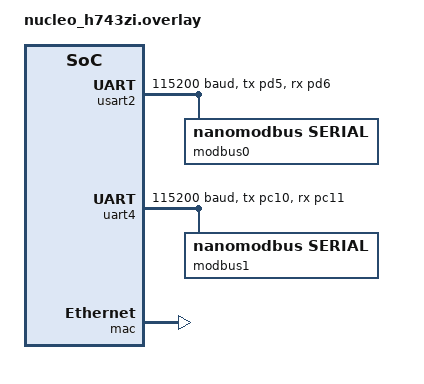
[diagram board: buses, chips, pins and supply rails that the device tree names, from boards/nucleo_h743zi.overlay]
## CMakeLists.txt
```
cmake_minimum_required(VERSION 3.20.0)
list(APPEND ZEPHYR_EXTRA_MODULES ${CMAKE_CURRENT_SOURCE_DIR}/../..)
find_package(Zephyr REQUIRED HINTS $ENV{ZEPHYR_BASE})
project(nanomodbus_gateway)
target_sources(app PRIVATE src/main.c)
```

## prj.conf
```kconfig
CONFIG_NANOMODBUS=y
CONFIG_NANOMODBUS_CLIENT=y
CONFIG_NANOMODBUS_SERVER=y
CONFIG_NANOMODBUS_SERVER_TCP=y
CONFIG_NANOMODBUS_TRANSPORT_SERIAL=y
CONFIG_NANOMODBUS_TRANSPORT_TCP=y
CONFIG_SERIAL=y
CONFIG_NETWORKING=y
CONFIG_NET_SOCKETS=y
CONFIG_NET_TCP=y
CONFIG_NET_IPV4=y
CONFIG_LOG=y
```

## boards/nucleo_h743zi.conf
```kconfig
# Copyright (c) 2026 nanoMODBUS Contributors
# SPDX-License-Identifier: MIT

CONFIG_NET_L2_ETHERNET=y
CONFIG_NET_DHCPV4=y
CONFIG_UART_INTERRUPT_DRIVEN=y
```

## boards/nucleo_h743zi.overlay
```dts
/*
 * Copyright (c) 2026 nanoMODBUS Contributors
 * SPDX-License-Identifier: MIT
 */

/ {
	aliases {
		modbus-bus1 = &usart2;
		modbus-bus2 = &uart4;
		modbus0 = &modbus0;
		modbus1 = &modbus1;
	};
};

&usart2 {
	pinctrl-0 = <&usart2_tx_pd5 &usart2_rx_pd6>;
	pinctrl-names = "default";
	current-speed = <115200>;
	status = "okay";

	modbus0: modbus0 {
		compatible = "nanomodbus,serial";
		status = "okay";
		#address-cells = <1>;
		#size-cells = <0>;
		de-mode = "none";
		rx-mode = "irq";

		bus1_slave: slave@1 {
			reg = <1>;
		};
	};
};

&uart4 {
	pinctrl-0 = <&uart4_tx_pc10 &uart4_rx_pc11>;
	pinctrl-names = "default";
	current-speed = <115200>;
	status = "okay";

	modbus1: modbus1 {
		compatible = "nanomodbus,serial";
		status = "okay";
		#address-cells = <1>;
		#size-cells = <0>;
		de-mode = "none";
		rx-mode = "irq";

		bus2_slave: slave@2 {
			reg = <2>;
		};
	};
};

&mac {
	status = "okay";
};
```

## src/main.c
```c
/*
 * Copyright (c) 2026 nanoMODBUS Contributors
 * SPDX-License-Identifier: MIT
 *
 * Multi-instance Modbus gateway sample.
 *
 * Two RTU buses are polled as Modbus clients and their registers are published
 * through a Modbus TCP server. Buses whose UART is unavailable fall back to
 * simulated telemetry so the TCP side can still be exercised.
 */

#include <zephyr/device.h>
#include <zephyr/drivers/uart.h>
#include <zephyr/kernel.h>
#include <zephyr/logging/log.h>
#include <zephyr/nanomodbus/nanomodbus_z.h>
#include <zephyr/nanomodbus/nanomodbus_z_serial.h>
#include <zephyr/nanomodbus/nanomodbus_z_tcp.h>
#include <zephyr/net/dhcpv4.h>
#include <zephyr/net/net_if.h>
#include <zephyr/net/net_ip.h>
#include <zephyr/net/socket.h>
#ifdef CONFIG_NANOMODBUS_SHELL
#include <zephyr/nanomodbus/nanomodbus_z_shell.h>
#endif

LOG_MODULE_REGISTER(modbus_gateway, CONFIG_NANOMODBUS_LOG_LEVEL);

#define GATEWAY_TCP_PORT 502

#define CACHE_REG_COUNT 32
#define BUS1_REG_OFFSET 0
#define BUS1_REG_COUNT 16
#define BUS2_REG_OFFSET 16
#define BUS2_REG_COUNT 16

/* Mutex-protected shared register cache */
static struct k_mutex cache_lock;
static uint16_t cached_holding_registers[CACHE_REG_COUNT];

/* Modbus TCP Server instance (embeds its listener stack, so static storage) */
static nmbs_z_server_tcp_t tcp_server;

/* RTU Clients for Bus 1 and Bus 2 */
static nmbs_z_client_t client_rtu1;
static nmbs_z_serial_transport_t transport_rtu1;
static nmbs_platform_conf platform_rtu1;
static bool bus1_hw_ready;

static nmbs_z_client_t client_rtu2;
static nmbs_z_serial_transport_t transport_rtu2;
static nmbs_platform_conf platform_rtu2;
static bool bus2_hw_ready;

/* Worker threads for RTU polling */
static K_THREAD_STACK_DEFINE(bus1_stack, 2048);
static K_THREAD_STACK_DEFINE(bus2_stack, 2048);
static struct k_thread bus1_thread;
static struct k_thread bus2_thread;

/* UART peripherals come from the devicetree nodes/aliases provided by the board
 * overlay. There is deliberately no fallback to the console UART: taking it
 * over would silently kill logging on boards without the aliases.
 */
#if DT_NODE_HAS_STATUS_OKAY(DT_NODELABEL(modbus0))
#define BUS1_NODE DT_NODELABEL(modbus0)
#elif DT_NODE_HAS_STATUS_OKAY(DT_ALIAS(modbus_bus1))
#define BUS1_NODE DT_ALIAS(modbus_bus1)
#else
#define BUS1_NODE DT_INVALID_NODE
#endif

#if DT_NODE_HAS_STATUS_OKAY(DT_NODELABEL(modbus1))
#define BUS2_NODE DT_NODELABEL(modbus1)
#elif DT_NODE_HAS_STATUS_OKAY(DT_ALIAS(modbus_bus2))
#define BUS2_NODE DT_ALIAS(modbus_bus2)
#else
#define BUS2_NODE DT_INVALID_NODE
#endif

#if DT_NODE_EXISTS(DT_NODELABEL(bus1_slave))
#define BUS1_SLAVE_ADDR NMBS_Z_DT_SLAVE_ID(DT_NODELABEL(bus1_slave))
#else
#define BUS1_SLAVE_ADDR 1
#endif

#if DT_NODE_EXISTS(DT_NODELABEL(bus2_slave))
#define BUS2_SLAVE_ADDR NMBS_Z_DT_SLAVE_ID(DT_NODELABEL(bus2_slave))
#else
#define BUS2_SLAVE_ADDR 2
#endif

/* Modbus TCP Server Callbacks serving cached RTU registers */
static nmbs_error gateway_read_holding_registers(uint16_t address, uint16_t quantity, uint16_t* registers_out,
                                                 uint8_t unit_id, void* arg) {
    ARG_UNUSED(unit_id);
    ARG_UNUSED(arg);

    if (address + quantity > CACHE_REG_COUNT) {
        LOG_WRN("TCP Client requested out-of-bounds holding registers: addr=%u, qty=%u", address, quantity);
        return NMBS_EXCEPTION_ILLEGAL_DATA_ADDRESS;
    }

    k_mutex_lock(&cache_lock, K_FOREVER);
    for (uint16_t i = 0; i < quantity; i++) {
        registers_out[i] = cached_holding_registers[address + i];
    }
    k_mutex_unlock(&cache_lock);

    LOG_INF("Served TCP Client: read %u holding registers starting at %u", quantity, address);
    return NMBS_ERROR_NONE;
}

static nmbs_error gateway_write_single_register(uint16_t address, uint16_t value, uint8_t unit_id, void* arg) {
    ARG_UNUSED(unit_id);
    ARG_UNUSED(arg);

    if (address >= CACHE_REG_COUNT) {
        LOG_WRN("TCP Client write out-of-bounds: addr=%u", address);
        return NMBS_EXCEPTION_ILLEGAL_DATA_ADDRESS;
    }

    k_mutex_lock(&cache_lock, K_FOREVER);
    cached_holding_registers[address] = value;
    k_mutex_unlock(&cache_lock);

    LOG_INF("Served TCP Client: wrote register %u = 0x%04X", address, value);
    return NMBS_ERROR_NONE;
}

static const nmbs_callbacks gateway_callbacks = {
        .read_holding_registers = gateway_read_holding_registers,
        .write_single_register = gateway_write_single_register,
};

/*
 * Initialize one RTU client. Returns true when the bus can really be polled;
 * false means the caller should publish simulated values instead.
 */
static bool setup_rtu_bus(nmbs_z_client_t* client, nmbs_z_serial_transport_t* transport, nmbs_platform_conf* platform,
                          const nmbs_z_serial_transport_config_t* config, uint8_t address, const char* name) {
    if (config == NULL || config->uart_dev == NULL || !device_is_ready(config->uart_dev)) {
        LOG_WRN("%s: UART not available, publishing simulated values", name);
        return false;
    }

    int ret = nmbs_z_serial_transport_init(transport, config, platform);
    if (ret != 0) {
        LOG_ERR("%s: serial transport init failed: %d", name, ret);
        return false;
    }

    ret = nmbs_z_client_init(client, platform);
    if (ret != 0) {
        LOG_ERR("%s: client init failed: %d", name, ret);
        return false;
    }

    ret = nmbs_z_client_set_target_address(client, address, K_MSEC(100));
    if (ret != 0) {
        LOG_ERR("%s: cannot set RTU slave address %u: %d", name, address, ret);
        return false;
    }

    LOG_INF("%s: RTU client for slave %u ready", name, address);
    return true;
}

/* Polling thread for RTU Bus 1 */
static void bus1_poll_fn(void* arg1, void* arg2, void* arg3) {
    ARG_UNUSED(arg1);
    ARG_UNUSED(arg2);
    ARG_UNUSED(arg3);

    uint16_t counter = 0;

    LOG_INF("RTU Bus 1 polling thread running (hardware=%s)...", bus1_hw_ready ? "active" : "simulated");

    while (1) {
        if (bus1_hw_ready) {
            uint16_t read_buf[BUS1_REG_COUNT] = {0};
            int ret = nmbs_z_client_read_holding_registers(&client_rtu1, 0, BUS1_REG_COUNT, read_buf, K_MSEC(500));
            if (ret == 0) {
                k_mutex_lock(&cache_lock, K_FOREVER);
                for (int i = 0; i < BUS1_REG_COUNT; i++) {
                    cached_holding_registers[BUS1_REG_OFFSET + i] = read_buf[i];
                }
                k_mutex_unlock(&cache_lock);
            }
            else {
                LOG_DBG("RTU Bus 1 poll failed: %d", ret);
            }
        }
        else {
            /* Simulated RTU Bus 1 slave telemetry */
            k_mutex_lock(&cache_lock, K_FOREVER);
            cached_holding_registers[BUS1_REG_OFFSET + 0] = 1000 + counter;
            cached_holding_registers[BUS1_REG_OFFSET + 1] = 1001;
            k_mutex_unlock(&cache_lock);
            counter++;
        }

        k_sleep(K_MSEC(500));
    }
}

/* Polling thread for RTU Bus 2 */
static void bus2_poll_fn(void* arg1, void* arg2, void* arg3) {
    ARG_UNUSED(arg1);
    ARG_UNUSED(arg2);
    ARG_UNUSED(arg3);

    uint16_t counter = 0;

    LOG_INF("RTU Bus 2 polling thread running (hardware=%s)...", bus2_hw_ready ? "active" : "simulated");

    while (1) {
        if (bus2_hw_ready) {
            uint16_t read_buf[BUS2_REG_COUNT] = {0};
            int ret = nmbs_z_client_read_holding_registers(&client_rtu2, 0, BUS2_REG_COUNT, read_buf, K_MSEC(500));
            if (ret == 0) {
                k_mutex_lock(&cache_lock, K_FOREVER);
                for (int i = 0; i < BUS2_REG_COUNT; i++) {
                    cached_holding_registers[BUS2_REG_OFFSET + i] = read_buf[i];
                }
                k_mutex_unlock(&cache_lock);
            }
            else {
                LOG_DBG("RTU Bus 2 poll failed: %d", ret);
            }
        }
        else {
            /* Simulated RTU Bus 2 slave telemetry */
            k_mutex_lock(&cache_lock, K_FOREVER);
            cached_holding_registers[BUS2_REG_OFFSET + 0] = 2000 + counter;
            cached_holding_registers[BUS2_REG_OFFSET + 1] = 2001;
            k_mutex_unlock(&cache_lock);
            counter++;
        }

        k_sleep(K_MSEC(500));
    }
}

static void log_ipv4_address(struct net_if* iface) {
    struct net_in_addr* addr = net_if_ipv4_get_global_addr(iface, NET_ADDR_PREFERRED);
    char buf[NET_IPV4_ADDR_LEN];

    if (addr == NULL || net_addr_ntop(NET_AF_INET, addr, buf, sizeof(buf)) == NULL) {
        return;
    }

    LOG_INF("Gateway Modbus TCP server reachable on %s:%u", buf, GATEWAY_TCP_PORT);
}

int main(void) {
    LOG_INF("=== nanoMODBUS Multi-Instance Gateway Starting ===");

    k_mutex_init(&cache_lock);

    /* Initialize register cache values */
    for (int i = 0; i < BUS1_REG_COUNT; i++) {
        cached_holding_registers[BUS1_REG_OFFSET + i] = (uint16_t) (1000 + i);
    }
    for (int i = 0; i < BUS2_REG_COUNT; i++) {
        cached_holding_registers[BUS2_REG_OFFSET + i] = (uint16_t) (2000 + i);
    }

    /* 1. Configure and initialize RTU Client 1 (Bus 1) */
#if DT_NODE_EXISTS(BUS1_NODE)
    nmbs_z_serial_transport_config_t bus1_cfg = NMBS_Z_SERIAL_TRANSPORT_CONFIG_DT(BUS1_NODE);
#else
    nmbs_z_serial_transport_config_t bus1_cfg = {0};
#endif
    bus1_hw_ready =
            setup_rtu_bus(&client_rtu1, &transport_rtu1, &platform_rtu1, &bus1_cfg, BUS1_SLAVE_ADDR, "RTU Bus 1");
#ifdef CONFIG_NANOMODBUS_SHELL
    if (bus1_hw_ready) {
        (void) nmbs_z_shell_register_client("rtu1", &client_rtu1);
    }
#endif

    /* 2. Configure and initialize RTU Client 2 (Bus 2) */
#if DT_NODE_EXISTS(BUS2_NODE)
    nmbs_z_serial_transport_config_t bus2_cfg = NMBS_Z_SERIAL_TRANSPORT_CONFIG_DT(BUS2_NODE);
#else
    nmbs_z_serial_transport_config_t bus2_cfg = {0};
#endif
    bus2_hw_ready =
            setup_rtu_bus(&client_rtu2, &transport_rtu2, &platform_rtu2, &bus2_cfg, BUS2_SLAVE_ADDR, "RTU Bus 2");
#ifdef CONFIG_NANOMODBUS_SHELL
    if (bus2_hw_ready) {
        (void) nmbs_z_shell_register_client("rtu2", &client_rtu2);
    }
#endif

    /* 3. Start Modbus TCP Server serving cached registers */
    int ret = nmbs_z_server_tcp_start(&tcp_server, &gateway_callbacks, GATEWAY_TCP_PORT);
    if (ret != 0) {
        LOG_ERR("Failed to start Gateway TCP Server on port %u: %d", GATEWAY_TCP_PORT, ret);
        return ret;
    }
#ifdef CONFIG_NANOMODBUS_SHELL
    (void) nmbs_z_shell_register_server_tcp("tcp0", &tcp_server);
#endif
    LOG_INF("Gateway Modbus TCP Server listening on port %u", GATEWAY_TCP_PORT);

    /* 4. Launch polling threads for Bus 1 and Bus 2 */
    k_thread_create(&bus1_thread, bus1_stack, K_THREAD_STACK_SIZEOF(bus1_stack), bus1_poll_fn, NULL, NULL, NULL, 7, 0,
                    K_NO_WAIT);
    k_thread_name_set(&bus1_thread, "modbus_bus1");

    k_thread_create(&bus2_thread, bus2_stack, K_THREAD_STACK_SIZEOF(bus2_stack), bus2_poll_fn, NULL, NULL, NULL, 7, 0,
                    K_NO_WAIT);
    k_thread_name_set(&bus2_thread, "modbus_bus2");

    /* 5. Bring Ethernet up. The server listens on all interfaces, so the
     * lease only affects reachability, not startup.
     */
    struct net_if* iface = net_if_get_default();

    if (iface == NULL) {
        LOG_ERR("No network interface available");
        return -ENODEV;
    }

    net_dhcpv4_start(iface);

    bool logged_address = false;

    LOG_INF("nanoMODBUS Multi-Instance Gateway running successfully.");

    /* Main monitor loop */
    while (1) {
        if (!logged_address && net_if_ipv4_get_global_addr(iface, NET_ADDR_PREFERRED) != NULL) {
            log_ipv4_address(iface);
            logged_address = true;
        }

        k_sleep(K_SECONDS(10));
        k_mutex_lock(&cache_lock, K_FOREVER);
        LOG_INF("[Gateway Telemetry] Cache Bus1[0]=%u, Bus2[0]=%u", cached_holding_registers[BUS1_REG_OFFSET],
                cached_holding_registers[BUS2_REG_OFFSET]);
        k_mutex_unlock(&cache_lock);
    }

    return 0;
}
```
